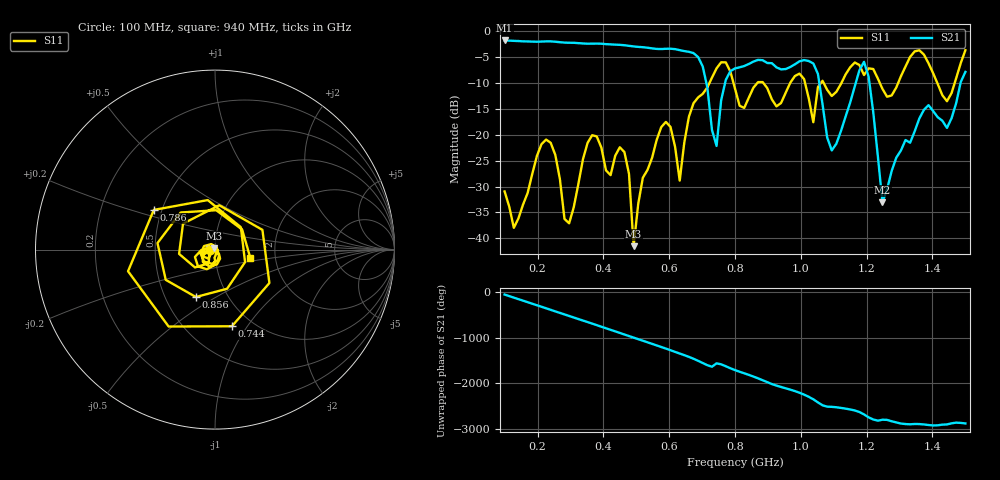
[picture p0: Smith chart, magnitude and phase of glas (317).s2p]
! NanoVNA-App
! Date: 2025-09-25 15:57:56
! Start: 100MHz Stop: 1,5GHz Points: 101
! S-Parameter data: F S11 S21 S12 S22
# Hz S RI R 50
!  Frequency  S11_Real  S11_Imag  S21_Real  S21_Imag  S12_Real  S12_Imag  S22_Real  S22_Imag
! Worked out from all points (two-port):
!   101 points, 100 MHz to 1.5 GHz, reference 50 ohm
!   highest |S21| = -1.80 dB at 100 MHz (marker M1); lowest = -33.0 dB at 1.248 GHz (marker M2)
!   |S21| within 3 dB of the highest: start of sweep to 684.2 MHz
!   lowest |S11| = -41.5 dB at 492 MHz (marker M3), VSWR 1.02, Z = 49.5 + j0.66 ohm
!   |S11| at or under -10 dB: start of sweep to 722.4 MHz; 795.3 MHz to 867.9 MHz (72.6 MHz wide, 8.73 % of centre); 886 MHz to 967.6 MHz (81.62 MHz wide, 8.81 % of centre) (the widest 3 of 7)
!   S12 and S22 are empty: the file has one direction only
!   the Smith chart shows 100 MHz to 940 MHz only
!   S11 on the Smith chart (normalised r, x): 100 MHz: 0.95, -0.01; 744 MHz: 0.81, -0.85; 786 MHz: 0.45, +0.24; 856 MHz: 0.71, -0.41; 940 MHz: 1.48, -0.15
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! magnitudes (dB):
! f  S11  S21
! 100 MHz  -30.9  -1.8
! 128 MHz  -38.0  -1.9
! 226 MHz  -20.9  -2.0
! 296 MHz  -37.1  -2.2
! 338 MHz  -24.7  -2.4
! 464 MHz  -23.3  -2.7
! 492 MHz  -41.5  -3.0
! 576 MHz  -18.5  -3.5
! 632 MHz  -28.8  -3.7
! 702 MHz  -12.1  -6.8
! 744 MHz  -7.2  -22.2
! 786 MHz  -7.8  -7.7
! 800 MHz  -11.1  -7.2
! 856 MHz  -10.9  -5.9
! 940 MHz  -13.9  -7.4
! 996 MHz  -8.2  -5.8
! 1.038 GHz  -17.6  -6.2
! 1.094 GHz  -12.5  -23.0
! 1.192 GHz  -8.5  -5.9
! 1.248 GHz  -11.1  -33.0
! 1.276 GHz  -12.4  -27.0
! 1.5 GHz  -3.7  -7.9
